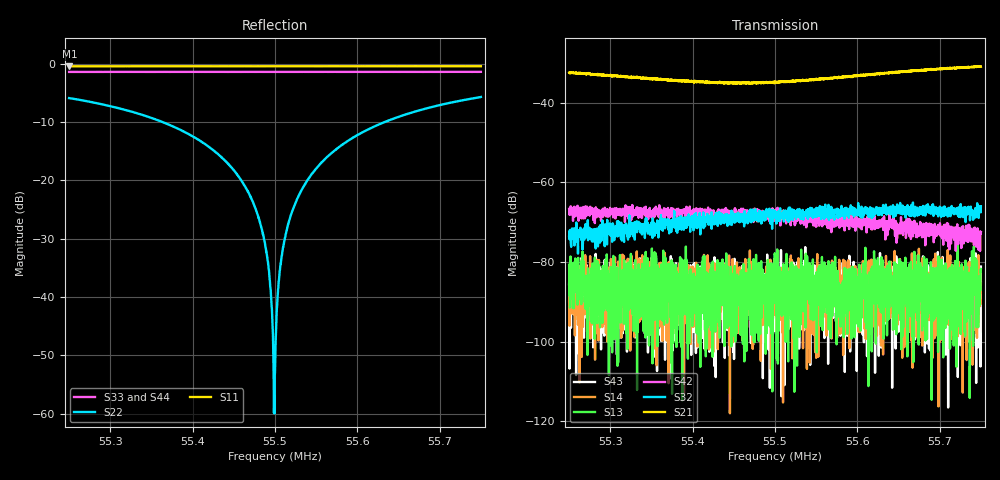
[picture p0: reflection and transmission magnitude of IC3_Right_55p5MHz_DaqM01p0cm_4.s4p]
#  HZ  S  DB  R  50.00
! Rohde & Schwarz Vector Network Analyzer
! Rohde-Schwarz,ZNB8-4Port,1311601044102961,2.82
! Created: UTC 2/13/2019, 11:53:12 AM
! freq[Hz]  db:S11  ang:S11  db:S12  ang:S12  db:S13  ang:S13  db:S14  ang:S14
!  db:S21  ang:S21  db:S22  ang:S22  db:S23  ang:S23  db:S24  ang:S24
!  db:S31  ang:S31  db:S32  ang:S32  db:S33  ang:S33  db:S34  ang:S34
!  db:S41  ang:S41  db:S42  ang:S42  db:S43  ang:S43  db:S44  ang:S44
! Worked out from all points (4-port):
!   2001 points, 55.25 MHz to 55.75 MHz, reference 50 ohm
!   strongest paths, dB at 55.25 MHz, 55.375 MHz, 55.5 MHz, 55.625 MHz, 55.75 MHz:
!     S21: -32.4, -34.3, -34.9, -32.8, -30.9
!     S32: -73.6, -70.1, -68.1, -68.0, -66.0
!     S42: -66.6, -66.7, -69.6, -71.3, -72.5
!     S13: -80.6, -113.1, -83.3, -79.0, -81.7
!     S14: -89.9, -82.8, -86.9, -86.9, -85.1
!     S43: -85.5, -91.8, -88.4, -82.4, -81.1
!   lowest |S11| = -0.5 dB at 55.2503 MHz (marker M1), VSWR 37.81, Z = 2.34 + j43.8 ohm
!   |S11| at or under -10 dB: nowhere
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5.525e7  -0.45 97.5  -32.28 73.1  -80.64 -85.8  -89.90 -69.8
         -32.44 73.2  -5.90 -161.9  -74.31 -22.0  -67.69 -171.1
         -89.41 137.3  -73.64 -39.7  -1.41 24.7  -87.38 -160.6
         -82.41 60.3  -66.64 -167.6  -85.53 -47.1  -1.43 31.2
5.525025e7  -0.46 97.4  -32.42 73.1  -86.02 128.8  -91.91 -117.8
            -32.49 73.0  -5.90 -162.0  -77.19 -29.6  -67.93 -171.4
            -79.54 168.9  -74.24 -32.2  -1.41 24.7  -88.72 -111.6
            -86.43 22.8  -67.68 -177.2  -83.29 -81.9  -1.43 31.3
5.54515e7  -0.44 93.7  -34.94 85.5  -93.76 -68.0  -84.12 22.4
           -35.11 85.5  -18.52 159.2  -69.59 -59.2  -69.29 155.9
           -89.39 179.4  -68.68 -51.7  -1.40 22.3  -86.38 -41.4
           -94.18 -68.2  -67.26 154.9  -80.87 143.3  -1.43 28.8
5.548625e7  -0.44 93.0  -34.97 90.3  -90.34 80.6  -90.66 113.1
            -35.11 90.5  -29.80 153.3  -67.52 -59.3  -69.05 151.9
            -92.15 66.8  -68.43 -66.3  -1.40 21.8  -81.47 -105.6
            -92.22 -143.7  -68.60 154.9  -85.85 60.7  -1.42 28.3
5.549925e7  -0.44 92.8  -34.67 91.4  -80.87 169.5  -83.06 -83.6
            -34.63 91.5  -56.97 -112.0  -67.79 -67.7  -67.58 149.1
            -92.81 -32.7  -68.27 -53.7  -1.40 21.7  -97.99 85.6
            -85.23 -116.2  -67.37 145.7  -82.07 18.5  -1.43 28.1
5.554675e7  -0.44 92.0  -34.03 97.8  -86.90 -171.5  -91.43 -59.7
            -34.15 97.2  -18.54 -42.7  -67.93 -75.8  -70.11 144.3
            -80.92 92.4  -67.75 -73.2  -1.40 21.0  -88.92 154.8
            -86.46 138.7  -69.74 142.4  -96.47 -158.1  -1.42 27.6
5.575e7  -0.43 88.2  -30.86 95.7  -81.72 163.4  -85.10 150.3
         -30.95 95.4  -5.71 -82.7  -67.15 -106.9  -72.99 102.7
         -82.23 161.1  -66.02 -107.8  -1.40 18.5  -88.13 5.4
         -86.78 -118.0  -72.48 106.6  -81.12 38.1  -1.42 25.0
